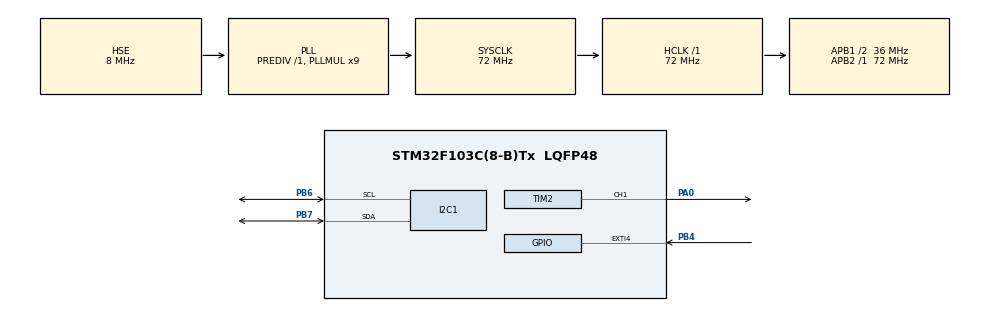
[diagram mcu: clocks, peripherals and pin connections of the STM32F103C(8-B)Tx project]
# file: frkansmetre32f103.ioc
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I2C1.I2C_Mode=I2C_Fast
Mcu.Family=STM32F1
Mcu.Name=STM32F103C(8-B)Tx
Mcu.Package=LQFP48
NVIC.EXTI4_IRQn=true\:0\:0\:false\:false\:true\:true\:true
NVIC.PriorityGroup=NVIC_PRIORITYGROUP_4
PA0-WKUP.Signal=S_TIM2_CH1_ETR
PA13.Mode=Serial_Wire
PA13.Signal=SYS_JTMS-SWDIO
PA14.Mode=Serial_Wire
PA14.Signal=SYS_JTCK-SWCLK
PB4.Signal=GPXTI4
PB6.Mode=I2C
PB6.Signal=I2C1_SCL
PB7.Mode=I2C
PB7.Signal=I2C1_SDA
PD0-OSC_IN.Mode=HSE-External-Oscillator
PD0-OSC_IN.Signal=RCC_OSC_IN
PD1-OSC_OUT.Mode=HSE-External-Oscillator
PD1-OSC_OUT.Signal=RCC_OSC_OUT
ProjectManager.HeapSize=0x200
ProjectManager.StackSize=0x400
ProjectManager.TargetToolchain=MDK-ARM V5.27
RCC.AHBFreq_Value=72000000
RCC.APB1CLKDivider=RCC_HCLK_DIV2
RCC.APB1Freq_Value=36000000
RCC.APB1TimFreq_Value=72000000
RCC.APB2Freq_Value=72000000
RCC.APB2TimFreq_Value=72000000
RCC.HCLKFreq_Value=72000000
RCC.PLLMUL=RCC_PLL_MUL9
RCC.PLLSourceVirtual=RCC_PLLSOURCE_HSE
RCC.SYSCLKFreq_VALUE=72000000
RCC.SYSCLKSource=RCC_SYSCLKSOURCE_PLLCLK
RCC.USBFreq_Value=72000000
SH.S_TIM2_CH1_ETR.0=TIM2_CH1,PWM Generation1 CH1
TIM1.Period=65535
TIM1.Prescaler=72-1
TIM2.Channel-PWM\ Generation1\ CH1=TIM_CHANNEL_1
TIM2.Period=3600
TIM2.Prescaler=4-1
TIM2.Pulse-PWM\ Generation1\ CH1=1800
VP_TIM1_VS_ClockSourceINT.Mode=Internal
VP_TIM2_VS_ClockSourceINT.Mode=Internal
board=custom

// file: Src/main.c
/* USER CODE BEGIN Header */
/**
  ******************************************************************************
  * @file           : main.c
  * @brief          : Main program body
  ******************************************************************************
  * @attention
  *
  * <h2><center>&copy; Copyright (c) 2020 STMicroelectronics.
  * All rights reserved.</center></h2>
  *
  * This software component is licensed by ST under BSD 3-Clause license,
  * the "License"; You may not use this file except in compliance with the
  * License. You may obtain a copy of the License at:
  *                        opensource.org/licenses/BSD-3-Clause
  *
  ******************************************************************************
  */
/* USER CODE END Header */

#include "main.h"

/* USER CODE BEGIN Includes */
#include "ssd1306.h"
#include "string.h"
/* USER CODE END Includes */

I2C_HandleTypeDef hi2c1;

TIM_HandleTypeDef htim1;
TIM_HandleTypeDef htim2;

/* USER CODE BEGIN PV */

int tic;
int tic1;
char dizi[16];
char dizi1[16];
float dizi2[5];

int sonuc;
float sonuc1;
float sonuc2=0;
/* USER CODE END PV */

void SystemClock_Config(void);
static void MX_GPIO_Init(void);
static void MX_I2C1_Init(void);
static void MX_TIM1_Init(void);
static void MX_TIM2_Init(void);
/* USER CODE BEGIN PFP */
static void delay_us(int us);

static float frequency_read(void);
/* USER CODE END PFP */

int main(void)
{

  /* MCU Configuration--------------------------------------------------------*/

  /* Reset of all peripherals, Initializes the Flash interface and the Systick. */
  HAL_Init();

  /* Configure the system clock */
  SystemClock_Config();

  /* Initialize all configured peripherals */
  MX_GPIO_Init();
  MX_I2C1_Init();
  MX_TIM1_Init();
  MX_TIM2_Init();
  /* USER CODE BEGIN 2 */
  SSD1306_Init();
	HAL_TIM_Base_Start(&htim1);//zamanlayici
  HAL_TIM_PWM_Start(&htim2,TIM_CHANNEL_1);//Pwm üreteci
  /* USER CODE END 2 */

  /* Infinite loop */
  while (1)
  {

    /* USER CODE BEGIN 3 */

__HAL_TIM_SET_COUNTER(&htim1,0);			 //sayac sifirlandi.

		frequency_read();//frekans okunuyor.

		SSD1306_Fill(0);                 //   |  3,9989KHz     4896,6Hz         1124,9 Hz         1429,7 HZ Ses karti ölçümü
		SSD1306_GotoXY(0,0);             //   |   4000 Hz      4901,961 Hz      1124,859Hz        14285,715 32f411re ölçümü

    sprintf(dizi,"%.2f",sonuc1);//fonksiyonun geri dönüs degeri karekterlere çevriliyor.
		SSD1306_Puts(dizi, &Font_11x18, 1);//Hz cinsinden frekans yazdiriliyor.
		SSD1306_GotoXY(90,0);
		SSD1306_Puts("Hz", &Font_11x18, 1);
		SSD1306_UpdateScreen();

  }
  /* USER CODE END 3 */
}

void SystemClock_Config(void)
{
  RCC_OscInitTypeDef RCC_OscInitStruct = {0};
  RCC_ClkInitTypeDef RCC_ClkInitStruct = {0};

  /** Initializes the CPU, AHB and APB busses clocks
  */
  RCC_OscInitStruct.OscillatorType = RCC_OSCILLATORTYPE_HSE;
  RCC_OscInitStruct.HSEState = RCC_HSE_ON;
  RCC_OscInitStruct.HSEPredivValue = RCC_HSE_PREDIV_DIV1;
  RCC_OscInitStruct.HSIState = RCC_HSI_ON;
  RCC_OscInitStruct.PLL.PLLState = RCC_PLL_ON;
  RCC_OscInitStruct.PLL.PLLSource = RCC_PLLSOURCE_HSE;
  RCC_OscInitStruct.PLL.PLLMUL = RCC_PLL_MUL9;
  if (HAL_RCC_OscConfig(&RCC_OscInitStruct) != HAL_OK)
  {
    Error_Handler();
  }
  /** Initializes the CPU, AHB and APB busses clocks
  */
  RCC_ClkInitStruct.ClockType = RCC_CLOCKTYPE_HCLK|RCC_CLOCKTYPE_SYSCLK
                              |RCC_CLOCKTYPE_PCLK1|RCC_CLOCKTYPE_PCLK2;
  RCC_ClkInitStruct.SYSCLKSource = RCC_SYSCLKSOURCE_PLLCLK;
  RCC_ClkInitStruct.AHBCLKDivider = RCC_SYSCLK_DIV1;
  RCC_ClkInitStruct.APB1CLKDivider = RCC_HCLK_DIV2;
  RCC_ClkInitStruct.APB2CLKDivider = RCC_HCLK_DIV1;

  if (HAL_RCC_ClockConfig(&RCC_ClkInitStruct, FLASH_LATENCY_2) != HAL_OK)
  {
    Error_Handler();
  }
}

static void MX_I2C1_Init(void)
{

  hi2c1.Instance = I2C1;
  hi2c1.Init.ClockSpeed = 400000;
  hi2c1.Init.DutyCycle = I2C_DUTYCYCLE_2;
  hi2c1.Init.OwnAddress1 = 0;
  hi2c1.Init.AddressingMode = I2C_ADDRESSINGMODE_7BIT;
  hi2c1.Init.DualAddressMode = I2C_DUALADDRESS_DISABLE;
  hi2c1.Init.OwnAddress2 = 0;
  hi2c1.Init.GeneralCallMode = I2C_GENERALCALL_DISABLE;
  hi2c1.Init.NoStretchMode = I2C_NOSTRETCH_DISABLE;
  if (HAL_I2C_Init(&hi2c1) != HAL_OK)
  {
    Error_Handler();
  }

}

static void MX_TIM1_Init(void)
{

  TIM_ClockConfigTypeDef sClockSourceConfig = {0};
  TIM_MasterConfigTypeDef sMasterConfig = {0};

  htim1.Instance = TIM1;
  htim1.Init.Prescaler = 72-1;
  htim1.Init.CounterMode = TIM_COUNTERMODE_UP;
  htim1.Init.Period = 65535;
  htim1.Init.ClockDivision = TIM_CLOCKDIVISION_DIV1;
  htim1.Init.RepetitionCounter = 0;
  htim1.Init.AutoReloadPreload = TIM_AUTORELOAD_PRELOAD_DISABLE;
  if (HAL_TIM_Base_Init(&htim1) != HAL_OK)
  {
    Error_Handler();
  }
  sClockSourceConfig.ClockSource = TIM_CLOCKSOURCE_INTERNAL;
  if (HAL_TIM_ConfigClockSource(&htim1, &sClockSourceConfig) != HAL_OK)
  {
    Error_Handler();
  }
  sMasterConfig.MasterOutputTrigger = TIM_TRGO_RESET;
  sMasterConfig.MasterSlaveMode = TIM_MASTERSLAVEMODE_DISABLE;
  if (HAL_TIMEx_MasterConfigSynchronization(&htim1, &sMasterConfig) != HAL_OK)
  {
    Error_Handler();
  }

}

static void MX_TIM2_Init(void)
{

  TIM_ClockConfigTypeDef sClockSourceConfig = {0};
  TIM_MasterConfigTypeDef sMasterConfig = {0};
  TIM_OC_InitTypeDef sConfigOC = {0};

  htim2.Instance = TIM2;
  htim2.Init.Prescaler = 4-1;
  htim2.Init.CounterMode = TIM_COUNTERMODE_UP;
  htim2.Init.Period = 3600;
  htim2.Init.ClockDivision = TIM_CLOCKDIVISION_DIV1;
  htim2.Init.AutoReloadPreload = TIM_AUTORELOAD_PRELOAD_DISABLE;
  if (HAL_TIM_Base_Init(&htim2) != HAL_OK)
  {
    Error_Handler();
  }
  sClockSourceConfig.ClockSource = TIM_CLOCKSOURCE_INTERNAL;
  if (HAL_TIM_ConfigClockSource(&htim2, &sClockSourceConfig) != HAL_OK)
  {
    Error_Handler();
  }
  if (HAL_TIM_PWM_Init(&htim2) != HAL_OK)
  {
    Error_Handler();
  }
  sMasterConfig.MasterOutputTrigger = TIM_TRGO_RESET;
  sMasterConfig.MasterSlaveMode = TIM_MASTERSLAVEMODE_DISABLE;
  if (HAL_TIMEx_MasterConfigSynchronization(&htim2, &sMasterConfig) != HAL_OK)
  {
    Error_Handler();
  }
  sConfigOC.OCMode = TIM_OCMODE_PWM1;
  sConfigOC.Pulse = 1800;
  sConfigOC.OCPolarity = TIM_OCPOLARITY_HIGH;
  sConfigOC.OCFastMode = TIM_OCFAST_DISABLE;
  if (HAL_TIM_PWM_ConfigChannel(&htim2, &sConfigOC, TIM_CHANNEL_1) != HAL_OK)
  {
    Error_Handler();
  }
  HAL_TIM_MspPostInit(&htim2);

}

static void MX_GPIO_Init(void)
{
  GPIO_InitTypeDef GPIO_InitStruct = {0};

  /* GPIO Ports Clock Enable */
  __HAL_RCC_GPIOD_CLK_ENABLE();
  __HAL_RCC_GPIOA_CLK_ENABLE();
  __HAL_RCC_GPIOB_CLK_ENABLE();

  /*Configure GPIO pin : PB4 */
  GPIO_InitStruct.Pin = GPIO_PIN_4;
  GPIO_InitStruct.Mode = GPIO_MODE_IT_RISING;
  GPIO_InitStruct.Pull = GPIO_NOPULL;
  HAL_GPIO_Init(GPIOB, &GPIO_InitStruct);

  /* EXTI interrupt init*/
  HAL_NVIC_SetPriority(EXTI4_IRQn, 0, 0);
  HAL_NVIC_EnableIRQ(EXTI4_IRQn);

}

/* USER CODE BEGIN 4 */
float frequency_read(void){

sonuc=tic-tic1;//yükselen kenarlar arasindaki fark.
		sonuc=abs(sonuc);//alinan farkin mutlak degeri aliniyor
		sonuc1=sonuc;

		sonuc1=1/sonuc1;//frekans bilgisi okunuyor
		sonuc1=sonuc1*1000000;//frekans bilgisi Hz'e çevriliyor.

	return sonuc1;//sonuc döndürülüyor.
}
/* USER CODE END 4 */

void Error_Handler(void)
{
}

/************************ (C) COPYRIGHT STMicroelectronics *****END OF FILE****/
